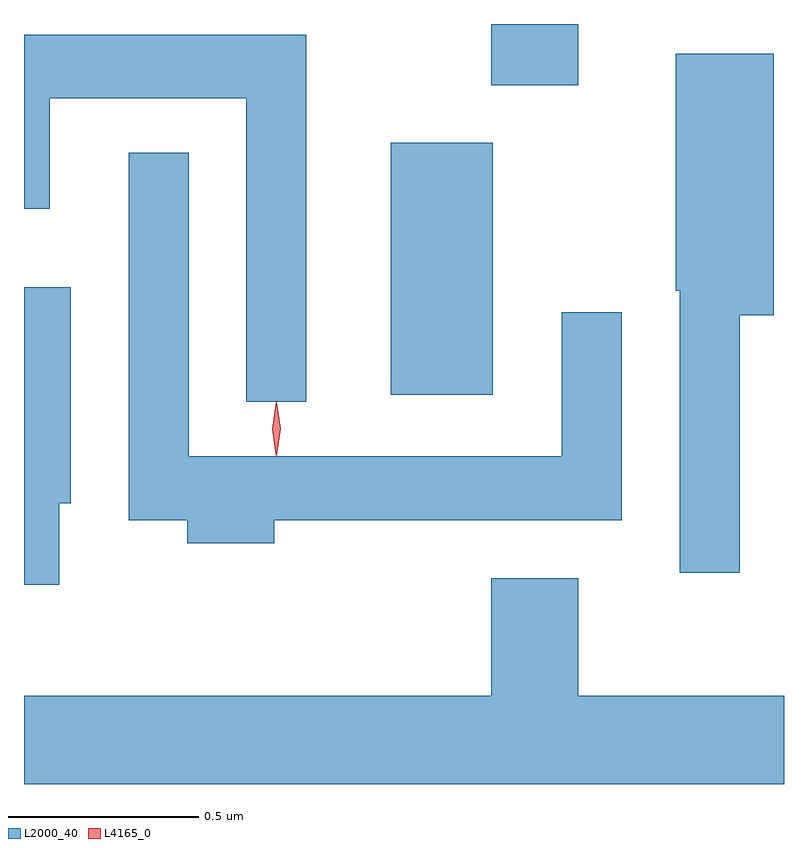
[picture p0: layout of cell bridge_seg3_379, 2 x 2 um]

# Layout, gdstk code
import gdstk
lib = gdstk.Library(unit=1e-6, precision=1e-09)
def R(c, l, rs):  # rectangles x0, y0, x1, y1
    for r in rs: c.add(gdstk.rectangle(r[:2], r[2:], *l))
def P(c, l, *ps):  # polygons
    for p in ps: c.add(gdstk.Polygon(p, *l))
L2000_40 = (2000, 40)
L4165_0 = (4165, 0)

bridge_seg3_379 = lib.new_cell('bridge_seg3_379')
R(bridge_seg3_379, L2000_40, [(698.476,1122.636,698.744,1123.299), (698.741,1123.451,698.969,1123.612)])
P(bridge_seg3_379, L2000_40, [(698.254,1123.584),(697.511,1123.584),(697.511,1123.126),(697.579,1123.126),(697.579,1123.416),(698.096,1123.416),(698.096,1122.618),(698.254,1122.618)],
  [(699.394,1122.846),(699.484,1122.846),(699.484,1123.534),(699.226,1123.534),(699.226,1122.91),(699.236,1122.91),(699.236,1122.168),(699.394,1122.168)],
  [(698.169,1122.306),(699.084,1122.306),(699.084,1122.853),(698.926,1122.853),(698.926,1122.474),(697.944,1122.474),(697.944,1123.273),(697.786,1123.273),(697.786,1122.306),(697.941,1122.306),(697.941,1122.246),(698.169,1122.246)],
  [(697.604,1122.351),(697.634,1122.351),(697.634,1122.919),(697.511,1122.919),(697.511,1122.136),(697.604,1122.136)],
  [(699.511,1121.844),(698.969,1121.844),(698.969,1122.154),(698.741,1122.154),(698.741,1121.844),(697.511,1121.844),(697.511,1121.612),(699.511,1121.612)])
P(bridge_seg3_379, L4165_0, [(698.174,1122.479),(698.174,1122.48),(698.164,1122.546),(698.174,1122.612),(698.174,1122.613),(698.175,1122.612),(698.184,1122.546),(698.175,1122.48)],
  [(698.175,1122.477),(698.166,1122.547),(698.175,1122.616),(698.176,1122.616),(698.176,1122.616),(698.186,1122.547),(698.176,1122.477),(698.176,1122.477)])

lib.write_gds('bridge_seg3_379.gds')
